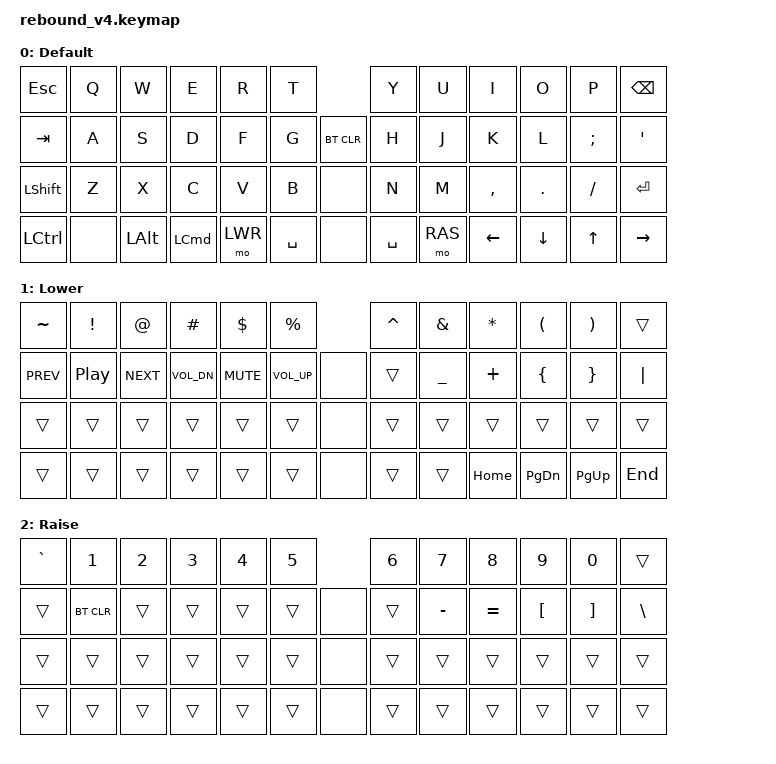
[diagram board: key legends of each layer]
/*
 * Copyright (c) 2020 The ZMK Contributors
 *
 * SPDX-License-Identifier: MIT
 */

#include <behaviors.dtsi>
#include <dt-bindings/zmk/keys.h>
#include <dt-bindings/zmk/bt.h>

#define DEFAULT 0
#define LWR     1
#define RAS     2

/ {
    keymap {
    compatible = "zmk,keymap";

    default_layer {        
        label = "Default";              					  
    bindings = <
    &kp ESC        &kp Q     &kp W        &kp E        &kp R       &kp T                        &kp Y         &kp U       &kp I         &kp O        &kp P        &kp BSPC
    &kp TAB        &kp A     &kp S        &kp D        &kp F       &kp G         &bt BT_CLR     &kp H         &kp J       &kp K         &kp L        &kp SEMI     &kp SQT
    &kp LSHIFT     &kp Z     &kp X        &kp C        &kp V       &kp B         &none          &kp N         &kp M       &kp COMMA     &kp DOT      &kp FSLH     &kp ENTER
    &kp LCTL       &none     &kp LALT     &kp LCMD     &mo LWR     &kp SPACE     &none          &kp SPACE     &mo RAS     &kp LEFT      &kp DOWN     &kp UP       &kp RIGHT
                    >;
            };

    lower_layer {        
        label = "Lower";              					  
    bindings = <
    &kp TILDE      &kp EXCL     &kp AT         &kp HASH         &kp DOLLAR     &kp PERCENT                &kp CARET     &kp AMPS      &kp STAR     &kp LPAR          &kp RPAR        &trans            
    &kp C_PREV     &kp C_PP     &kp C_NEXT     &kp C_VOL_DN     &kp C_MUTE     &kp C_VOL_UP     &none     &trans        &kp UNDER     &kp PLUS     &kp LBRC          &kp RBRC        &kp PIPE
    &trans         &trans       &trans         &trans           &trans         &trans           &none     &trans        &trans        &trans       &trans            &trans          &trans
    &trans         &trans       &trans         &trans           &trans         &trans           &none     &trans        &trans        &kp HOME     &kp PAGE_DOWN     &kp PAGE_UP     &kp END
                    >;
            };

    raise_layer {         
        label = "Raise";              					  
    bindings = <
    &kp GRAVE     &kp N1         &kp N2     &kp N3     &kp N4     &kp N5               &kp N6     &kp N7        &kp N8        &kp N9       &kp N0       &trans 
    &trans        &bt BT_CLR     &trans     &trans     &trans     &trans     &none     &trans     &kp MINUS     &kp EQUAL     &kp LBKT     &kp RBKT     &kp BSLH 
    &trans        &trans         &trans     &trans     &trans     &trans     &none     &trans     &trans        &trans         &trans      &trans       &trans
    &trans        &trans         &trans     &trans     &trans     &trans     &none     &trans     &trans        &trans        &trans       &trans       &trans
                    >;
            };
    };
};
